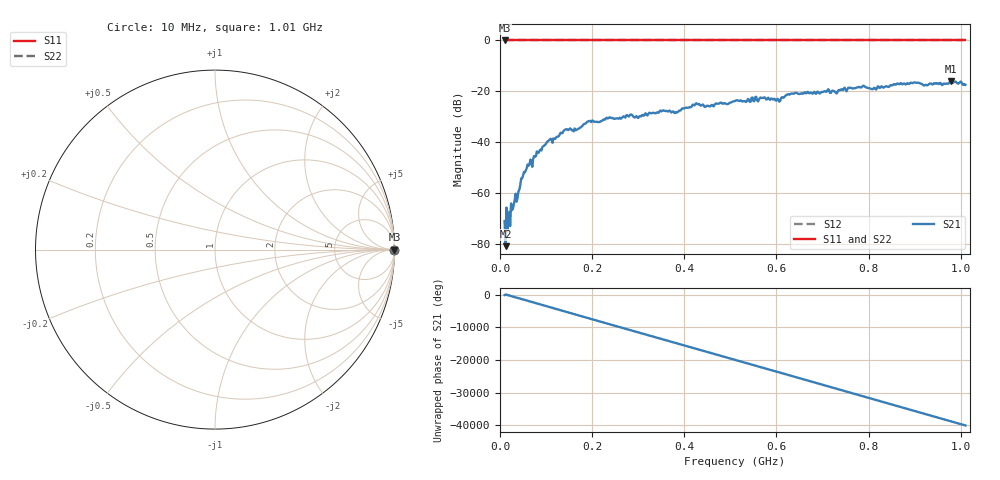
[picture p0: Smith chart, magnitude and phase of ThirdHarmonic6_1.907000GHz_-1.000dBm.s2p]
! 8/16/2025 11:00:45 PM
! C:\ANRITSUVNA\TEMP\TEMP.S2P
! CHANNEL.1
! TR.MEASUREMENT
! RAW.DATA
! RF.CORRECTION.OFF
! AVERAGING.OFF
! IF.BANDWIDTH: 5KHZ
! SWEEPTYPE:  FREQ.SWEEP(Linear)
! Reference Plane Port Info
! PORT:  PORT1  PORT2
! DISTANCE:  0  m  0  m
! TIME:  0  s  0  s
! PHASE.OFFSET:  0  deg.  0  deg.
! LOSS:  0  dB  0  dB
! REF.LOSS:  0  dB  0  dB
! REF.FREQ:  0  Hz  0  Hz
! Power Info
! POWER:  -20  dBm  -20  dBm
! EFF.POWER:  -20  dBm  -20  dBm
! SOURCE.ATTEN:  0  dB  0  dB
! TEST.ATTEN:  0  dB  0  dB
# GHZ S RI R 50.0
! FREQ.GHZ  S11RE  S11IM  S21RE  S21IM  S12RE  S12IM  S22RE  S22IM
!; PortSelection: Port_12
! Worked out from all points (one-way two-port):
!   501 points, 10 MHz to 1.01 GHz, reference 50 ohm
!   highest |S21| = -16.04 dB at 978 MHz (marker M1); lowest = -80.8 dB at 12 MHz (marker M2)
!   lowest |S11| = 0.0 dB at 10 MHz (marker M3)
!   |S11| at or under -10 dB: nowhere
!   |S22| runs from 0.0 to 0.0 dB; largest |S21 - S12| = 1.1
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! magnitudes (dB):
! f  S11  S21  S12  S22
! 10 MHz  0.0  -70.9  0.0  0.0
! 12 MHz  0.0  -80.8  0.0  0.0
! 20 MHz  0.0  -67.3  0.0  0.0
! 40 MHz  0.0  -59.3  0.0  0.0
! 50 MHz  0.0  -53.1  0.0  0.0
! 76 MHz  0.0  -45.7  0.0  0.0
! 106 MHz  0.0  -39.3  0.0  0.0
! 142 MHz  0.0  -35.0  0.0  0.0
! 178 MHz  0.0  -33.7  0.0  0.0
! 234 MHz  0.0  -30.6  0.0  0.0
! 344 MHz  0.0  -28.4  0.0  0.0
! 382 MHz  0.0  -28.1  0.0  0.0
! 422 MHz  0.0  -25.5  0.0  0.0
! 448 MHz  0.0  -25.8  0.0  0.0
! 510 MHz  0.0  -23.8  0.0  0.0
! 570 MHz  0.0  -22.6  0.0  0.0
! 604 MHz  0.0  -23.1  0.0  0.0
! 628 MHz  0.0  -21.3  0.0  0.0
! 678 MHz  0.0  -20.9  0.0  0.0
! 844 MHz  0.0  -18.2  0.0  0.0
! 978 MHz  0.0  -16.0  0.0  0.0
! 1.01 GHz  0.0  -17.4  0.0  0.0
